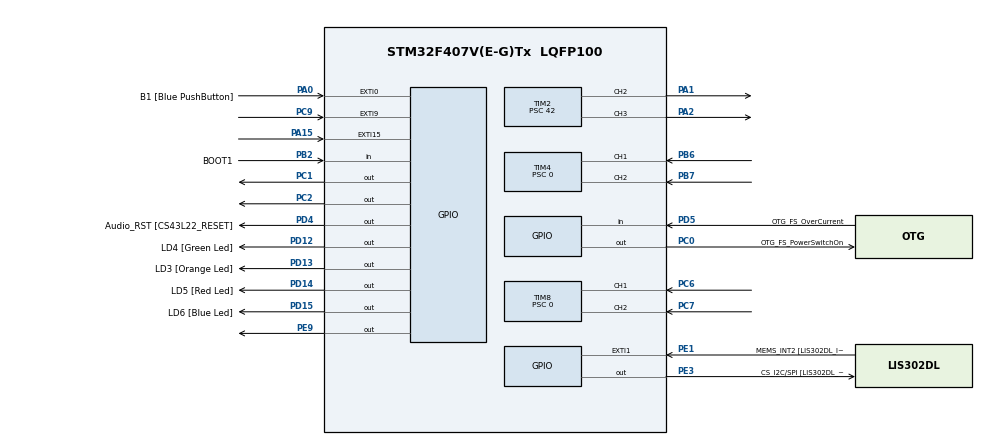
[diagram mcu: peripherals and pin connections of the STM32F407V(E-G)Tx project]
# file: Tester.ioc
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Mcu.Family=STM32F4
Mcu.Name=STM32F407V(E-G)Tx
Mcu.Package=LQFP100
NVIC.EXTI15_10_IRQn=true\:0\:0\:false\:false\:true\:true\:true\:true
NVIC.EXTI9_5_IRQn=true\:0\:0\:false\:false\:true\:true\:true\:true
NVIC.PriorityGroup=NVIC_PRIORITYGROUP_0
NVIC.TIM4_IRQn=true\:0\:0\:false\:false\:true\:true\:true\:true
PA0-WKUP.GPIO_Label=B1 [Blue PushButton]
PA0-WKUP.GPIO_ModeDefaultEXTI=GPIO_MODE_EVT_RISING
PA0-WKUP.GPIO_PuPd=GPIO_NOPULL
PA0-WKUP.Signal=GPXTI0
PA1.GPIO_PuPd=GPIO_NOPULL
PA1.GPIO_Speed=GPIO_SPEED_FREQ_VERY_HIGH
PA1.Signal=S_TIM2_CH2
PA13.GPIO_Label=SWDIO
PA13.Mode=Serial_Wire
PA13.Signal=SYS_JTMS-SWDIO
PA14.GPIO_Label=SWCLK
PA14.Mode=Serial_Wire
PA14.Signal=SYS_JTCK-SWCLK
PA15.GPIO_ModeDefaultEXTI=GPIO_MODE_IT_FALLING
PA15.GPIO_PuPd=GPIO_PULLUP
PA15.Signal=GPXTI15
PA2.GPIO_PuPd=GPIO_NOPULL
PA2.GPIO_Speed=GPIO_SPEED_FREQ_VERY_HIGH
PA2.Signal=S_TIM2_CH3
PB2.GPIO_Label=BOOT1
PB2.GPIO_Mode=GPIO_MODE_INPUT
PB2.GPIO_PuPd=GPIO_NOPULL
PB2.Signal=GPIO_Input
PB6.GPIO_PuPd=GPIO_PULLUP
PB6.GPIO_Speed=GPIO_SPEED_FREQ_VERY_HIGH
PB6.Signal=S_TIM4_CH1
PB7.GPIO_PuPd=GPIO_PULLUP
PB7.GPIO_Speed=GPIO_SPEED_FREQ_VERY_HIGH
PB7.Signal=S_TIM4_CH2
PC0.GPIO_Label=OTG_FS_PowerSwitchOn
PC0.GPIO_PuPd=GPIO_NOPULL
PC0.GPIO_Speed=GPIO_SPEED_FREQ_LOW
PC0.PinState=GPIO_PIN_SET
PC0.Signal=GPIO_Output
PC1.GPIO_ModeDefaultOutputPP=GPIO_MODE_OUTPUT_PP
PC1.GPIO_PuPd=GPIO_PULLDOWN
PC1.GPIO_Speed=GPIO_SPEED_FREQ_VERY_HIGH
PC1.PinState=GPIO_PIN_SET
PC1.Signal=GPIO_Output
PC14-OSC32_IN.GPIO_Label=PC14-OSC32_IN
PC14-OSC32_IN.Mode=LSE-External-Oscillator
PC14-OSC32_IN.Signal=RCC_OSC32_IN
PC15-OSC32_OUT.GPIO_Label=PC15-OSC32_OUT
PC15-OSC32_OUT.Mode=LSE-External-Oscillator
PC15-OSC32_OUT.Signal=RCC_OSC32_OUT
PC2.GPIO_ModeDefaultOutputPP=GPIO_MODE_OUTPUT_PP
PC2.GPIO_PuPd=GPIO_PULLDOWN
PC2.Signal=GPIO_Output
PC6.GPIO_PuPd=GPIO_PULLUP
PC6.GPIO_Speed=GPIO_SPEED_FREQ_VERY_HIGH
PC6.Signal=S_TIM8_CH1
PC7.GPIO_PuPd=GPIO_PULLUP
PC7.GPIO_Speed=GPIO_SPEED_FREQ_VERY_HIGH
PC7.Signal=S_TIM8_CH2
PC9.GPIO_ModeDefaultEXTI=GPIO_MODE_IT_FALLING
PC9.GPIO_PuPd=GPIO_PULLUP
PC9.Signal=GPXTI9
PD12.GPIO_Label=LD4 [Green Led]
PD12.GPIO_PuPd=GPIO_NOPULL
PD12.GPIO_Speed=GPIO_SPEED_FREQ_LOW
PD12.Signal=GPIO_Output
PD13.GPIO_Label=LD3 [Orange Led]
PD13.GPIO_PuPd=GPIO_NOPULL
PD13.GPIO_Speed=GPIO_SPEED_FREQ_LOW
PD13.Signal=GPIO_Output
PD14.GPIO_Label=LD5 [Red Led]
PD14.GPIO_PuPd=GPIO_NOPULL
PD14.GPIO_Speed=GPIO_SPEED_FREQ_LOW
PD14.Signal=GPIO_Output
PD15.GPIO_Label=LD6 [Blue Led]
PD15.GPIO_PuPd=GPIO_NOPULL
PD15.GPIO_Speed=GPIO_SPEED_FREQ_LOW
PD15.Signal=GPIO_Output
PD4.GPIO_Label=Audio_RST [CS43L22_RESET]
PD4.GPIO_PuPd=GPIO_NOPULL
PD4.GPIO_Speed=GPIO_SPEED_FREQ_LOW
PD4.Signal=GPIO_Output
PD5.GPIO_Label=OTG_FS_OverCurrent
PD5.GPIO_Mode=GPIO_MODE_INPUT
PD5.GPIO_PuPd=GPIO_NOPULL
PD5.Signal=GPIO_Input
PE1.GPIO_Label=MEMS_INT2 [LIS302DL_INT2]
PE1.GPIO_ModeDefaultEXTI=GPIO_MODE_EVT_RISING
PE1.GPIO_PuPd=GPIO_NOPULL
PE1.Signal=GPXTI1
PE3.GPIO_Label=CS_I2C/SPI [LIS302DL_CS_I2C/SPI]
PE3.GPIO_PuPd=GPIO_NOPULL
PE3.GPIO_Speed=GPIO_SPEED_FREQ_LOW
PE3.Signal=GPIO_Output
PE9.GPIO_ModeDefaultOutputPP=GPIO_MODE_OUTPUT_PP
PE9.GPIO_PuPd=GPIO_PULLDOWN
PE9.Signal=GPIO_Output
PH0-OSC_IN.GPIO_Label=PH0-OSC_IN
PH0-OSC_IN.Mode=HSE-External-Oscillator
PH0-OSC_IN.Signal=RCC_OSC_IN
PH1-OSC_OUT.GPIO_Label=PH1-OSC_OUT
PH1-OSC_OUT.Mode=HSE-External-Oscillator
PH1-OSC_OUT.Signal=RCC_OSC_OUT
ProjectManager.HeapSize=0x200
ProjectManager.StackSize=0x400
ProjectManager.TargetToolchain=STM32CubeIDE
RCC.48MHZClocksFreq_Value=48000000
RCC.AHBFreq_Value=168000000
RCC.APB1CLKDivider=RCC_HCLK_DIV4
RCC.APB1Freq_Value=42000000
RCC.APB1TimFreq_Value=84000000
RCC.APB2CLKDivider=RCC_HCLK_DIV2
RCC.APB2Freq_Value=84000000
RCC.APB2TimFreq_Value=168000000
RCC.CortexFreq_Value=168000000
RCC.HCLKFreq_Value=168000000
RCC.HSE_VALUE=8000000
RCC.HSI_VALUE=16000000
RCC.PLLM=8
RCC.PLLN=336
RCC.PLLQ=7
RCC.PLLSourceVirtual=RCC_PLLSOURCE_HSE
RCC.SYSCLKFreq_VALUE=168000000
RCC.SYSCLKSource=RCC_SYSCLKSOURCE_PLLCLK
RCC.VCOOutputFreq_Value=336000000
SH.S_TIM2_CH2.0=TIM2_CH2,PWM Generation2 CH2
SH.S_TIM2_CH3.0=TIM2_CH3,PWM Generation3 CH3
SH.S_TIM4_CH1.0=TIM4_CH1,Encoder_Interface
SH.S_TIM4_CH2.0=TIM4_CH2,Encoder_Interface
SH.S_TIM8_CH1.0=TIM8_CH1,Encoder_Interface
SH.S_TIM8_CH2.0=TIM8_CH2,Encoder_Interface
TIM2.Channel-PWM\ Generation2\ CH2=TIM_CHANNEL_2
TIM2.Channel-PWM\ Generation3\ CH3=TIM_CHANNEL_3
TIM2.Period=100
TIM2.Prescaler=42
TIM4.AutoReloadPreload=TIM_AUTORELOAD_PRELOAD_DISABLE
TIM4.ClockDivision=TIM_CLOCKDIVISION_DIV1
TIM4.EncoderMode=TIM_ENCODERMODE_TI1
TIM4.IC1Filter=15
TIM4.IC1Prescaler=TIM_ICPSC_DIV1
TIM4.IC2Filter=15
TIM4.IC2Prescaler=TIM_ICPSC_DIV1
TIM4.Prescaler=0
TIM4.TIM_MasterOutputTrigger=TIM_TRGO_OC1
TIM8.AutoReloadPreload=TIM_AUTORELOAD_PRELOAD_DISABLE
TIM8.ClockDivision=TIM_CLOCKDIVISION_DIV1
TIM8.IC1Filter=15
TIM8.IC1Prescaler=TIM_ICPSC_DIV1
TIM8.IC2Filter=15
TIM8.IC2Prescaler=TIM_ICPSC_DIV1
TIM8.Prescaler=0
VP_TIM2_VS_ClockSourceINT.Mode=Internal
board=STM32F407G-DISC1

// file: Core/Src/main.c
/* USER CODE BEGIN Header */
/**
  ******************************************************************************
  * @file           : main.c
  * @brief          : Main program body
  ******************************************************************************
  * @attention
  *
  * Copyright (c) 2022 STMicroelectronics.
  * All rights reserved.
  *
  * This software is licensed under terms that can be found in the LICENSE file
  * in the root directory of this software component.
  * If no LICENSE file comes with this software, it is provided AS-IS.
  *
  ******************************************************************************
  */
/* USER CODE END Header */
#include "main.h"
#include "tim.h"
#include "gpio.h"

/* USER CODE BEGIN PV */
extern char flag_from_interapt = 0;

/* USER CODE END PV */

void SystemClock_Config(void);
/* USER CODE BEGIN PFP */
void Buzzer_Start(void)
{
	LL_GPIO_TogglePin(GPIOE, LL_GPIO_PIN_9);
	LL_mDelay(100);
	LL_GPIO_TogglePin(GPIOE, LL_GPIO_PIN_9);
	LL_mDelay(100);
	LL_GPIO_TogglePin(GPIOE, LL_GPIO_PIN_9);
	LL_mDelay(100);
	LL_GPIO_TogglePin(GPIOE, LL_GPIO_PIN_9);
	LL_mDelay(100);
}
void Buzzer_setpoint_selection(void)
{
	LL_GPIO_TogglePin(GPIOE, LL_GPIO_PIN_9);
	LL_mDelay(50);
	LL_GPIO_TogglePin(GPIOE, LL_GPIO_PIN_9);
	LL_mDelay(50);
	LL_GPIO_TogglePin(GPIOE, LL_GPIO_PIN_9);
	LL_mDelay(50);
	LL_GPIO_TogglePin(GPIOE, LL_GPIO_PIN_9);
	LL_mDelay(500);
	LL_GPIO_TogglePin(GPIOE, LL_GPIO_PIN_9);
	LL_mDelay(50);
	LL_GPIO_TogglePin(GPIOE, LL_GPIO_PIN_9);
	LL_mDelay(50);
	LL_GPIO_TogglePin(GPIOE, LL_GPIO_PIN_9);
	LL_mDelay(50);
	LL_GPIO_TogglePin(GPIOE, LL_GPIO_PIN_9);
	LL_mDelay(500);
	LL_GPIO_TogglePin(GPIOE, LL_GPIO_PIN_9);
	LL_mDelay(50);
	LL_GPIO_TogglePin(GPIOE, LL_GPIO_PIN_9);
	LL_mDelay(50);
	LL_GPIO_TogglePin(GPIOE, LL_GPIO_PIN_9);
	LL_mDelay(50);
	LL_GPIO_TogglePin(GPIOE, LL_GPIO_PIN_9);
	LL_mDelay(500);
	LL_GPIO_TogglePin(GPIOE, LL_GPIO_PIN_9);
	LL_mDelay(50);
	LL_GPIO_TogglePin(GPIOE, LL_GPIO_PIN_9);
	LL_mDelay(50);
	LL_GPIO_TogglePin(GPIOE, LL_GPIO_PIN_9);
	LL_mDelay(50);
	LL_GPIO_TogglePin(GPIOE, LL_GPIO_PIN_9);
	LL_mDelay(500);
}

void end_sensor_signal(void)
{
	LL_GPIO_SetOutputPin(GPIOD, LD4_Pin|LD3_Pin|LD5_Pin|LD6_Pin);
	LL_mDelay(300);
	LL_GPIO_ResetOutputPin(GPIOD, LD4_Pin|LD3_Pin|LD5_Pin|LD6_Pin);
	LL_mDelay(300);
	LL_GPIO_SetOutputPin(GPIOD, LD4_Pin|LD3_Pin|LD5_Pin|LD6_Pin);
	LL_mDelay(300);
	LL_GPIO_ResetOutputPin(GPIOD, LD4_Pin|LD3_Pin|LD5_Pin|LD6_Pin);
	LL_mDelay(300);
	LL_GPIO_TogglePin(GPIOE, LL_GPIO_PIN_9);
	LL_mDelay(150);
	LL_GPIO_TogglePin(GPIOE, LL_GPIO_PIN_9);
}
void calibration(void)
{
	  LL_GPIO_SetOutputPin(GPIOC, LL_GPIO_PIN_1); // Left moving
	  LL_TIM_OC_SetCompareCH2(TIM2,0);            // Left moving
	  LL_TIM_OC_SetCompareCH3(TIM2,40);           // Left moving
}
/* USER CODE END PFP */

int main(void)
{
  /* USER CODE BEGIN 1 */

	int setpoint = 0;
	int PID_p = 0;
	long enc_pendulum = 0;
	long enc_carriage = 0;
	long right_carriage_border = 0;
	long left_carriage_border = 0;
	long center_carriage_border = 0;

  /* USER CODE END 1 */

  /* MCU Configuration--------------------------------------------------------*/

  /* Reset of all peripherals, Initializes the Flash interface and the Systick. */
  LL_APB2_GRP1_EnableClock(LL_APB2_GRP1_PERIPH_SYSCFG);
  LL_APB1_GRP1_EnableClock(LL_APB1_GRP1_PERIPH_PWR);

  /* System interrupt init*/
  NVIC_SetPriorityGrouping(NVIC_PRIORITYGROUP_0);

  /* Configure the system clock */
  SystemClock_Config();

  /* Initialize all configured peripherals */
  MX_GPIO_Init();
  MX_TIM2_Init();
  MX_TIM4_Init();
  MX_TIM8_Init();
  /* USER CODE BEGIN 2 */
  Buzzer_Start();
  TIM4->CR1 |= (1<<0); // Start timer 4 to read encoder
  TIM8->CR1 |= (1<<0); // Start timer 8 to read encoder

    LL_TIM_CC_EnableChannel(TIM2, LL_TIM_CHANNEL_CH2);
    LL_TIM_CC_EnableChannel(TIM2, LL_TIM_CHANNEL_CH3);
    LL_TIM_EnableCounter(TIM2);
  //LL_mDelay(1);
 // LL_GPIO_ResetOutputPin(GPIOC, LL_GPIO_PIN_1);// Stop moving
 // LL_mDelay(1);
  //LL_TIM_OC_SetCompareCH2(TIM2,0);            // Stop
  //LL_TIM_OC_SetCompareCH3(TIM2,0);           // Stop
  //LL_mDelay(1);

  // calibration();

// Old code for Analog-to-Digital Converter. When we tried to use circular potentiometers instead of encoders =)
//**************************************************************************************************************************************
  /*
   LL_ADC_Enable(ADC1); // Start of ADC 1 (ADC1->CR2 |= (1«0);)
   LL_ADC_REG_StartConversionSWStart(ADC1); // Sample from ADC
   while (LL_ADC_IsActiveFlag_EOCS(ADC1) != 1) {;} // Waiting for the end of the sample. When flag will be on
   LL_ADC_ClearFlag_EOCS(ADC1); // Make flag off to allow to make another ample
   setpoint = LL_ADC_REG_ReadConversionData12(ADC1); // Put data from ADC
   setpoint = setpoint/41;

   It was in while section:
   LL_ADC_REG_StartConversionSWStart(ADC1); // Sample from ADC
   while (LL_ADC_IsActiveFlag_EOCS(ADC1) != 1) {;} // Waiting for the end of the sample. When flag will be on
   LL_ADC_ClearFlag_EOCS(ADC1); // Make flag off to allow to make another ample
   ADC_1_data = LL_ADC_REG_ReadConversionData12(ADC1); // Put data from ADC
   ADC_1_data = ADC_1_data / 41;
  */
//**************************************************************************************************************************************

  /* USER CODE END 2 */

  /* Infinite loop */
  /* USER CODE BEGIN WHILE */
  while (1)
  {
// Encoders information:
// enc_carriage from edge to edge have 1365 ticks
// enc_pendulum have 1000 ticks for 1 full circle rotation

//if (flag_from_interapt == 0)
//{
//	enc_pendulum = LL_TIM_GetCounter(TIM4); // Information about position of pendulum
	//enc_carriage = LL_TIM_GetCounter(TIM8); // Information about position of carriage
	//int x = 0;

/*
	PID_p = abs(((0.05 * (setpoint - ADC_1_data))));

	if (ADC_1_data==setpoint){LL_GPIO_ResetOutputPin(GPIOC, LL_GPIO_PIN_1);} else{LL_GPIO_SetOutputPin(GPIOC, LL_GPIO_PIN_1);}

	if (ADC_1_data>setpoint)
	{
		LL_TIM_OC_SetCompareCH2(TIM2,0);
		LL_TIM_OC_SetCompareCH3(TIM2, PID_p);
	}
	if(ADC_1_data<setpoint)
	{
		LL_TIM_OC_SetCompareCH3(TIM2,0);
		LL_TIM_OC_SetCompareCH2(TIM2, PID_p);
	}

	if (ADC_1_data==0) // Если маятник упал
	{
	flag_from_interapt = 1;
	LL_GPIO_SetOutputPin(GPIOC, LL_GPIO_PIN_2);
	LL_TIM_OC_SetCompareCH3(TIM2,100);
	LL_GPIO_SetOutputPin(GPIOD, LD4_Pin|LD3_Pin|LD5_Pin|LD6_Pin);
	}
	*/

//}

	// Moving test
	/*
	LL_mDelay(4000);
	LL_GPIO_SetOutputPin(GPIOC, LL_GPIO_PIN_1); // Enable moving
 // LL_GPIO_SetOutputPin(GPIOC, LL_GPIO_PIN_1); // Restrict moving
	LL_TIM_OC_SetCompareCH3(TIM2,0);            // Right moving
	LL_TIM_OC_SetCompareCH2(TIM2,30);           // Right moving
	LL_mDelay(600);
	LL_TIM_OC_SetCompareCH2(TIM2,0);            // Left moving
	LL_TIM_OC_SetCompareCH3(TIM2,30);           // Left moving
	LL_mDelay(1000000);
	*/

	  LL_GPIO_ResetOutputPin(GPIOC, LL_GPIO_PIN_1);
	  LL_mDelay(1000000);
    /* USER CODE END WHILE */

  }
}

void SystemClock_Config(void)
{
  LL_FLASH_SetLatency(LL_FLASH_LATENCY_5);
  while(LL_FLASH_GetLatency()!= LL_FLASH_LATENCY_5)
  {
  }
  LL_PWR_SetRegulVoltageScaling(LL_PWR_REGU_VOLTAGE_SCALE1);
  LL_RCC_HSE_Enable();

   /* Wait till HSE is ready */
  while(LL_RCC_HSE_IsReady() != 1)
  {

  }
  LL_RCC_PLL_ConfigDomain_SYS(LL_RCC_PLLSOURCE_HSE, LL_RCC_PLLM_DIV_8, 336, LL_RCC_PLLP_DIV_2);
  LL_RCC_PLL_Enable();

   /* Wait till PLL is ready */
  while(LL_RCC_PLL_IsReady() != 1)
  {

  }
  LL_RCC_SetAHBPrescaler(LL_RCC_SYSCLK_DIV_1);
  LL_RCC_SetAPB1Prescaler(LL_RCC_APB1_DIV_4);
  LL_RCC_SetAPB2Prescaler(LL_RCC_APB2_DIV_2);
  LL_RCC_SetSysClkSource(LL_RCC_SYS_CLKSOURCE_PLL);

   /* Wait till System clock is ready */
  while(LL_RCC_GetSysClkSource() != LL_RCC_SYS_CLKSOURCE_STATUS_PLL)
  {

  }
  LL_Init1msTick(168000000);
  LL_SetSystemCoreClock(168000000);
}

void Error_Handler(void)
{
  __disable_irq();
  while (1)
  {
  }
}
